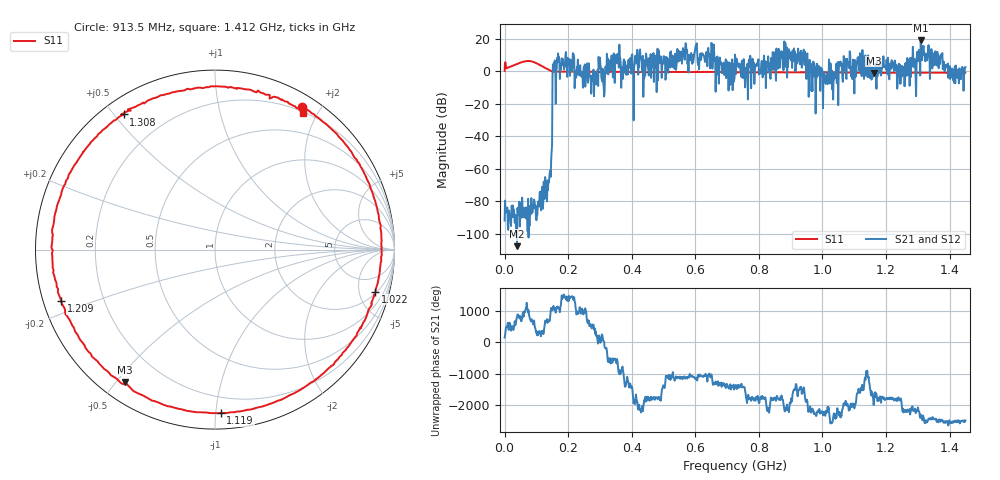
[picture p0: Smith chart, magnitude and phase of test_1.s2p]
! Created with skrf 1.11.0 (http://scikit-rf.org).
# Hz S RI R 50.0
!freq ReS11 ImS11 ReS21 ImS21 ReS12 ImS12 ReS22 ImS22
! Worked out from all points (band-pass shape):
!   1001 points, 50 kHz to 1.45 GHz, reference 50 ohm
!   highest |S21| = 19.03 dB at 1.309 GHz (marker M1); lowest = -107.7 dB at 39.2 MHz (marker M2)
!   |S21| within 3 dB of the highest: 361.0447 MHz to 361.1593 MHz (114.6 kHz wide, 0.0317 % of centre); 602.2958 MHz to 605.0109 MHz (2.715 MHz wide, 0.45 % of centre) (the widest 2 of 9)
!   lowest |S11| = -1.0 dB at 1.161 GHz (marker M3), VSWR 17.72, Z = 3.6 - j26.3 ohm
!   |S11| at or under -10 dB: nowhere
!   |S22| runs from - to - dB; largest |S21 - S12| = 0
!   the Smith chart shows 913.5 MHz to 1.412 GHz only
!   S11 on the Smith chart (normalised r, x): 913.5 MHz: 0.15, +1.78; 1.022 GHz: 2.22, -7.10; 1.119 GHz: 0.10, -1.03; 1.209 GHz: 0.05, -0.16; 1.308 GHz: 0.06, +0.53; 1.412 GHz: 0.21, +1.81
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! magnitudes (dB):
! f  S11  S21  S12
! 50 kHz  0.3  -92.0  -92.0
! 39.2 MHz  4.5  -107.7  -107.7
! 101.5 MHz  4.9  -89.0  -89.0
! 137.8 MHz  1.0  -67.9  -67.9
! 142.1 MHz  0.6  -62.3  -62.3
! 158.1 MHz  -0.1  6.7  6.7
! 162.4 MHz  -0.1  1.6  1.6
! 242.2 MHz  -0.2  -3.2  -3.2
! 484.3 MHz  -0.4  13.1  13.1
! 598.9 MHz  -0.4  12.3  12.3
! 725 MHz  -0.5  10.4  10.4
! 913.5 MHz  -0.6  12.3  12.3
! 967.2 MHz  -0.6  -4.4  -4.4
! 1.022 GHz  -0.7  -1.2  -1.2
! 1.119 GHz  -0.8  9.7  9.7
! 1.161 GHz  -1.0  1.1  1.1
! 1.209 GHz  -0.9  -3.7  -3.7
! 1.253 GHz  -0.8  -2.0  -2.0
! 1.308 GHz  -0.8  -2.5  -2.5
! 1.309 GHz  -0.8  19.0  19.0
! 1.412 GHz  -0.9  -5.7  -5.7
! 1.45 GHz  -0.8  2.6  2.6
